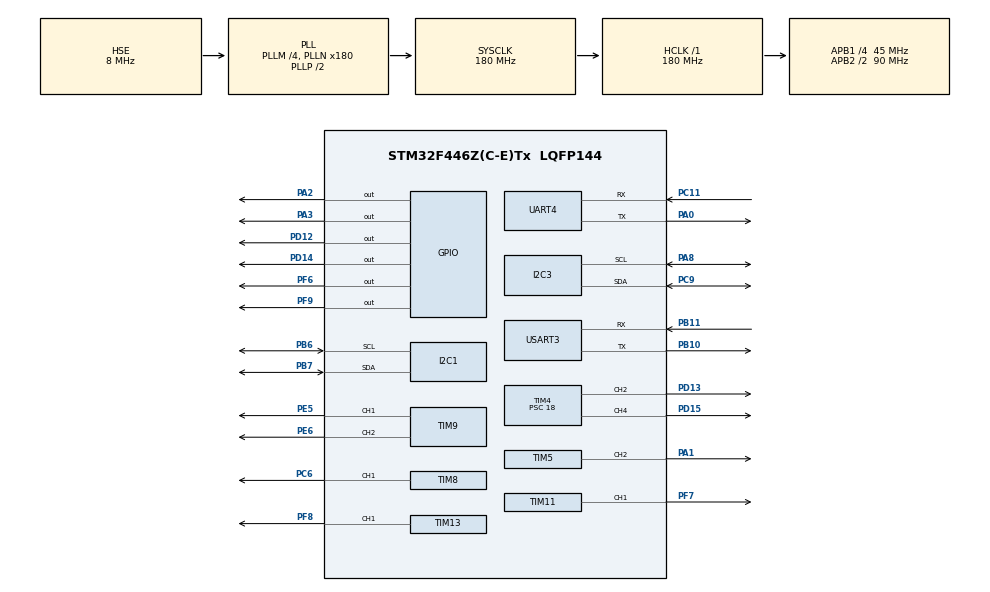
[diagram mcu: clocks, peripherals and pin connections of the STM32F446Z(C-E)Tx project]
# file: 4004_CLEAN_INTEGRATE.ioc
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Mcu.Family=STM32F4
Mcu.Name=STM32F446Z(C-E)Tx
Mcu.Package=LQFP144
NVIC.PriorityGroup=NVIC_PRIORITYGROUP_4
NVIC.TIM7_IRQn=true\:0\:0\:false\:false\:true\:true\:true\:true
PA0-WKUP.Mode=Asynchronous
PA0-WKUP.Signal=UART4_TX
PA1.Signal=S_TIM5_CH2
PA13.Mode=Serial_Wire
PA13.Signal=SYS_JTMS-SWDIO
PA14.Mode=Serial_Wire
PA14.Signal=SYS_JTCK-SWCLK
PA2.Signal=GPIO_Output
PA3.Signal=GPIO_Output
PA8.Mode=I2C
PA8.Signal=I2C3_SCL
PB10.Mode=Asynchronous
PB10.Signal=USART3_TX
PB11.Mode=Asynchronous
PB11.Signal=USART3_RX
PB6.Mode=I2C
PB6.Signal=I2C1_SCL
PB7.Mode=I2C
PB7.Signal=I2C1_SDA
PC11.Mode=Asynchronous
PC11.Signal=UART4_RX
PC14-OSC32_IN.Mode=LSE-External-Oscillator
PC14-OSC32_IN.Signal=RCC_OSC32_IN
PC15-OSC32_OUT.Mode=LSE-External-Oscillator
PC15-OSC32_OUT.Signal=RCC_OSC32_OUT
PC6.Signal=S_TIM8_CH1
PC9.Mode=I2C
PC9.Signal=I2C3_SDA
PD12.Signal=GPIO_Output
PD13.Signal=S_TIM4_CH2
PD14.Signal=GPIO_Output
PD15.Signal=S_TIM4_CH4
PD5.Signal=USART2_TX
PD6.Signal=USART2_RX
PE5.Signal=S_TIM9_CH1
PE6.Signal=S_TIM9_CH2
PF6.Signal=GPIO_Output
PF7.Signal=S_TIM11_CH1
PF8.Signal=S_TIM13_CH1
PF9.Signal=GPIO_Output
PH0-OSC_IN.Mode=HSE-External-Oscillator
PH0-OSC_IN.Signal=RCC_OSC_IN
PH1-OSC_OUT.Mode=HSE-External-Oscillator
PH1-OSC_OUT.Signal=RCC_OSC_OUT
ProjectManager.HeapSize=0x200
ProjectManager.StackSize=0x400
ProjectManager.TargetToolchain=STM32CubeIDE
RCC.48MHZClocksFreq_Value=24000000
RCC.AHBFreq_Value=180000000
RCC.APB1CLKDivider=RCC_HCLK_DIV4
RCC.APB1Freq_Value=45000000
RCC.APB1TimFreq_Value=90000000
RCC.APB2CLKDivider=RCC_HCLK_DIV2
RCC.APB2Freq_Value=90000000
RCC.APB2TimFreq_Value=180000000
RCC.CortexFreq_Value=180000000
RCC.HCLKFreq_Value=180000000
RCC.HSE_VALUE=8000000
RCC.HSI_VALUE=16000000
RCC.PLLM=4
RCC.PLLMUL=RCC_PLL_MUL9
RCC.PLLN=180
RCC.PLLQ=7
RCC.PLLSourceVirtual=RCC_PLLSOURCE_HSE
RCC.PRESCALERUSB=RCC_USBCLKSOURCE_PLL_DIV1_5
RCC.SYSCLKFreq_VALUE=180000000
RCC.SYSCLKSource=RCC_SYSCLKSOURCE_PLLCLK
RCC.SYSCLKSourceVirtual=RCC_SYSCLKSOURCE_PLLCLK
RCC.USBFreq_Value=51428571.428571425
RCC.VCOOutputFreq_Value=360000000
SH.S_TIM11_CH1.0=TIM11_CH1,PWM Generation1 CH1
SH.S_TIM13_CH1.0=TIM13_CH1,PWM Generation1 CH1
SH.S_TIM4_CH2.0=TIM4_CH2,PWM Generation2 CH2
SH.S_TIM4_CH4.0=TIM4_CH4,PWM Generation4 CH4
SH.S_TIM5_CH2.0=TIM5_CH2,PWM Generation2 CH2
SH.S_TIM8_CH1.0=TIM8_CH1,PWM Generation1 CH1
SH.S_TIM9_CH1.0=TIM9_CH1,PWM Generation1 CH1
SH.S_TIM9_CH2.0=TIM9_CH2,PWM Generation2 CH2
TIM11.Channel=TIM_CHANNEL_1
TIM11.Period=255
TIM11.Prescaler=36
TIM13.Channel=TIM_CHANNEL_1
TIM13.Period=255
TIM13.Prescaler=18
TIM4.Channel-PWM\ Generation2\ CH2=TIM_CHANNEL_2
TIM4.Channel-PWM\ Generation4\ CH4=TIM_CHANNEL_4
TIM4.Period=255
TIM4.Prescaler=18
TIM5.Channel-PWM\ Generation2\ CH2=TIM_CHANNEL_2
TIM5.Period=255
TIM5.Prescaler=18
TIM7.Period=99
TIM7.Prescaler=999
TIM8.Channel-PWM\ Generation1\ CH1=TIM_CHANNEL_1
TIM8.Channel-PWM\ Generation1\ CH1N=TIM_CHANNEL_1
TIM8.Period=255
TIM8.Prescaler=36
TIM9.Channel-PWM\ Generation1\ CH1=TIM_CHANNEL_1
TIM9.Channel-PWM\ Generation2\ CH2=TIM_CHANNEL_2
UART4.VirtualMode=Asynchronous
USART3.VirtualMode=VM_ASYNC
VP_TIM11_VS_ClockSourceINT.Mode=Enable_Timer
VP_TIM13_VS_ClockSourceINT.Mode=Enable_Timer
VP_TIM4_VS_ClockSourceINT.Mode=Internal
VP_TIM5_VS_ClockSourceINT.Mode=Internal
VP_TIM7_VS_ClockSourceINT.Mode=Enable_Timer
VP_TIM8_VS_ClockSourceINT.Mode=Internal
VP_TIM9_VS_ClockSourceINT.Mode=Internal
board=NUCLEO-F446ZE

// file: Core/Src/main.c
/* USER CODE BEGIN Header */
/**
 ******************************************************************************
 * @file           : main.c
 * @brief          : Main program body
 ******************************************************************************
 * @attention
 *
 * Copyright (c) 2026 STMicroelectronics.
 * All rights reserved.
 *
 * This software is licensed under terms that can be found in the LICENSE file
 * in the root directory of this software component.
 * If no LICENSE file comes with this software, it is provided AS-IS.
 *
 ******************************************************************************
 */
/* USER CODE END Header */
#include "main.h"

/* USER CODE BEGIN Includes */
#include "OdriveS1.h"

#include<stdio.h>
#include<stdbool.h>
#include<stdint.h>
#include<string.h>
#include<math.h>
#include<stdlib.h>
#include"Encoderlib.h"
#include"Cytron.h"
#include"BNO055_STM32.h"
#include"BTS7960.h"
#include"PCA9685.h"
#include"ads1115.h"
/* USER CODE END Includes */

I2C_HandleTypeDef hi2c1;
I2C_HandleTypeDef hi2c3;

TIM_HandleTypeDef htim4;
TIM_HandleTypeDef htim5;
TIM_HandleTypeDef htim7;
TIM_HandleTypeDef htim8;
TIM_HandleTypeDef htim9;
TIM_HandleTypeDef htim11;
TIM_HandleTypeDef htim13;

UART_HandleTypeDef huart4;
UART_HandleTypeDef huart3;

/* USER CODE BEGIN PV */
OdriveS1 M1;
Cytron m1, m2, m3;
Cytron SM1, Belt, Turret;
BTS conveyer;
PCA_t PCA;

encoder_instance L_enc, R_enc, F_enc;
uint16_t timer_counter1, timer_counter2, timer_counter3, timer_counter4;
float L_dist, R_dist, F_dist;
#define CPR 8192
#define WHEEL_RADIUS 5.4/2.0

#define LENGTH1 13.5
#define LENGTH2 13.5
#define LENGTH3 26        // x axis wheel

#define PI 3.14159265358979323846
float x_local, y_local, x_global, y_global;
double FCount = 0, LCount = 0, RCount = 0;
double prevFCount = 0, prevLCount = 0, prevRCount = 0;
double dF, dL, dR;
double xPosition = 0;
double yPosition = 0;
double thetaPosition = 0;

double deltaX, deltaY;
double deltaX_global, deltaY_global;

bool reached = false;
bool hehe;
bool wot;

double prevTheta = 0;   // IMU previous heading

#define BNO055_ADDR (0x28 << 1)
#define PWR_MODE 0x3E
#define OPR_MODE 0x3D
#define EUL_DATA_START 0x1A

uint8_t bno_data[6];
float current_heading, current_roll, current_pitch;

#define data_size 9
#define slave_addr 8

char buffer[100];

#define radius       1
#define length       1
#define MAX_PWM      100
#define LINEAR_PWM   60
#define DEADZONE     30
#define dt           0.001

int8_t data[data_size];

uint32_t count = 0;

char msg[300];
int L_joystick_x = 0, L_joystick_y = 0, R_joystick_x = 0, R_joystick_y = 0,
		omega;
bool right;
bool down;
bool up;
bool left;

bool square;
bool cross;
bool circle;
bool triangle;

bool PS, Touchpad, Options, Share, R3, L3, R1, L1;

bool is = false;
bool checked = false;

uint32_t current, previous;

int pwm1, pwm2, pwm3;
float PWM1, PWM2, PWM3;

float bot_vel, theta;

bool flag = false;
bool moving = false;
bool is_omega = false;
bool pid_tim = false;
bool horizontal = false;
bool vertical = false;
bool point = false;

float P, I, D;
float p, i, d;

float kp = 1.1;   // linear pid
float ki = 0;
float kd = 0;

float Kp = 1.1;   // correction pid
float Ki = 0;
float Kd = 0;

float KP = 7; // angular pid
float KI = 4.5;
float KD = 0.8;

float vel;

float error, error1, error2, d_error;
float ERR, ERR1, ERR2, D_error;
float correction;
float CORRECTION;
float target_heading = 0;

float target_distance, current_distance, angle;

bool pid = true;

unsigned long t_start, t_end;
float dt2;

volatile bool imu = false;
volatile bool value = false;

uint32_t i2c1, i2c2;

/* USER CODE END PV */

void SystemClock_Config(void);
static void MX_GPIO_Init(void);
static void MX_USART3_UART_Init(void);
static void MX_I2C1_Init(void);
static void MX_I2C3_Init(void);
static void MX_TIM4_Init(void);
static void MX_TIM5_Init(void);
static void MX_TIM7_Init(void);
static void MX_TIM8_Init(void);
static void MX_TIM9_Init(void);
static void MX_TIM11_Init(void);
static void MX_TIM13_Init(void);
static void MX_UART4_Init(void);

/* USER CODE BEGIN 0 */
uint8_t RxData[8];

uint32_t blink_delay;

float radians(float angle) {
	return angle * 2 * 3.14 / 360.0;
}

float degrees(float angle) {
	return angle * 360.0 / (2 * 3.14);
}

float map(float x, float in_min, float in_max, float out_min, float out_max) {
	return (x - in_min) * (out_max - out_min) / (in_max - in_min) + out_min;
}

float constrain(float num, float min, float max) {

	if (num > max) {
		return max;
	} else if (num < min) {
		return min;
	} else {
		return num;
	}
}

float normalise_angle(float angle) {
	if (angle > 180.0) {
		angle -= 360.0;
	}
	if (angle < -180.0) {
		angle += 360.0;
	}
	return angle;
}

void get_angle() {

	bno055_vector_t v = bno055_getVectorEuler();
	current_heading = v.x;

}

void process_data() {
//	 if (HAL_OK == (HAL_I2C_Master_Receive(&hi2c1, slave_addr << 1, (uint8_t*) data, data_size, HAL_MAX_DELAY))) {
	HAL_UART_Receive(&huart4, (uint8_t*) data, sizeof(data), HAL_MAX_DELAY);

	uint8_t TempData1 = data[1];
	uint8_t TempData2 = data[2];

	up = ((TempData1 & (1 << 0)) ? 1 : 0);
	right = ((TempData1 & (1 << 1)) ? 1 : 0);
	down = ((TempData1 & (1 << 2)) ? 1 : 0);
	left = ((TempData1 & (1 << 3)) ? 1 : 0);
	triangle = ((TempData1 & (1 << 4)) ? 1 : 0);
	circle = ((TempData1 & (1 << 5)) ? 1 : 0);
	cross = ((TempData1 & (1 << 6)) ? 1 : 0);
	square = ((TempData1 & (1 << 7)) ? 1 : 0);

	L1 = ((TempData2 & (1 << 0)) ? 1 : 0);
	R1 = ((TempData2 & (1 << 1)) ? 1 : 0);
	L3 = ((TempData2 & (1 << 2)) ? 1 : 0);
	R3 = ((TempData2 & (1 << 3)) ? 1 : 0);
	Share = ((TempData2 & (1 << 4)) ? 1 : 0);
	Options = ((TempData2 & (1 << 5)) ? 1 : 0);
	Touchpad = ((TempData2 & (1 << 6)) ? 1 : 0);
	PS = ((TempData2 & (1 << 7)) ? 1 : 0);

	omega = -data[7];
	R_joystick_y = data[6];
	R_joystick_x = data[5];
	L_joystick_x = data[3];
	L_joystick_y = data[4];

	if (abs(L_joystick_x) < DEADZONE)
		L_joystick_x = 0;

	if (abs(L_joystick_y) < DEADZONE)
		L_joystick_y = 0;
	if (abs(omega) < 5)
		omega = 0;

	omega = map(omega, -127, 127, -50, 50);

}

void find_wheel_vel() {

	bot_vel = sqrt(pow(L_joystick_x, 2) + pow(L_joystick_y, 2));
	theta = atan2(L_joystick_y, L_joystick_x) + radians(target_heading);

	pwm1 = constrain(
			((bot_vel * cos(theta) - (length * omega)) / radius) + CORRECTION,
			-MAX_PWM, MAX_PWM) * 1.5;
	pwm2 = constrain(
			((sqrt(3) * bot_vel * sin(theta) - bot_vel * cos(theta)
					- 2 * length * omega) / (2 * radius)) + CORRECTION,
			-MAX_PWM, MAX_PWM) * 1.5;
	pwm3 = constrain(
			(-1
					* ((bot_vel * cos(theta) + sqrt(3) * bot_vel * sin(theta)
							+ 2 * length * omega) / (2 * radius))) + CORRECTION,
			-MAX_PWM, MAX_PWM) * 1.5;

}

void rotate_motor(int pwm1, int pwm2, int pwm3) {

	RotateCytron(&m1, pwm1);
	RotateCytron(&m2, pwm2);
	RotateCytron(&m3, pwm3);

}

void PID2() {
	ERR = normalise_angle(target_heading - current_heading);
	D_error = ERR - ERR2;
	ERR2 = ERR;

	p = ERR * KP;
	i = i + (ERR * (float) dt2 * KI);
	d = (D_error / (float) dt2) * KD;

	if (fabs(ERR) > 3.5 || fabs(ERR) < 0.5) {
		i = 0;
	}

	CORRECTION = p + i + d;
}

void STAFF_Motor() {
	if (R_joystick_y > 50) {
		RotateCytron(&SM1, 70);
	} else if (R_joystick_y < -50) {
		RotateCytron(&SM1, -70);
	} else {
		StopCytron(&SM1);
	}
}

typedef struct {
	bool prevState;
	bool flag;
} ToggleButton;

ToggleButton StaffGripServo = { 0 };
ToggleButton StaffAttackServo = { 0 };

void STAFF_Init() {
	RotateServo(&PCA, 12, 180);
	RotateServo(&PCA, 10, 180);
	RotateServo(&PCA, 2, 130);
}

void STAFF_Servo() {
	// GRIP SERVO
	if (square && !StaffGripServo.prevState) {
		StaffGripServo.prevState = true;
		StaffGripServo.flag = !StaffGripServo.flag;

		if (StaffGripServo.flag) {
			//			RotateServo(&PCA, GRIP_SERVO_1, GRIP_SERVO_1_GRIP_ANGLE);
			//			RotateServo(&PCA, 8, 90);
			RotateServo(&PCA, 11, 20);

			RotateServo(&PCA, 1, 50);
			RotateServo(&PCA, 8, 0);
		} else {
			//			RotateServo(&PCA, GRIP_SERVO_1, GRIP_SERVO_1_RELEASE_ANGLE);
			//			RotateServo(&PCA, 8, 150);
			RotateServo(&PCA, 11, 180);

			RotateServo(&PCA, 1, 170);
			RotateServo(&PCA, 8, 70);
		}
	} else if (!square) {
		StaffGripServo.prevState = false;
	}

	// ATTACK SERVO
	if (triangle && !StaffAttackServo.prevState) {
		StaffAttackServo.prevState = true;
		StaffAttackServo.flag = !StaffAttackServo.flag;

		if (StaffAttackServo.flag) {
			//			RotateServo(&PCA, ATTACK_SERVO_1, ATTACK_SERVO_1_ATTACK_ANGLE);
			RotateServo(&PCA, 12, 110);
			RotateServo(&PCA, 10, 15);
			RotateServo(&PCA, 2, 67);
		} else {
			//			RotateServo(&PCA, ATTACK_SERVO_1, ATTACK_SERVO_1_NORMAL_ANGLE);
			RotateServo(&PCA, 12, 150);
			RotateServo(&PCA, 10, 58);
			RotateServo(&PCA, 2, 110);
		}
	} else if (!triangle) {
		StaffAttackServo.prevState = false;
	}
}

void STAFF_Motion() {
	STAFF_Motor();
	STAFF_Servo();
}

void TurretMotor() {
	if (right) {
		RotateCytron(&Turret, 75);
	} else if (left) {
		RotateCytron(&Turret, -75);
	} else {
		StopCytron(&Turret);
	}
}

void BeltMotor() {
	if (up) {
		RotateCytron(&Belt, 90);
	} else if (down) {
		RotateCytron(&Belt, -90);
	} else {
		StopCytron(&Belt);
	}
}

ToggleButton KFSPickServo = { 0 };

void KFS_Pick_Servo() {
	// GRIP SERVO
	if (circle && !KFSPickServo.prevState) {
		KFSPickServo.prevState = true;
		KFSPickServo.flag = !KFSPickServo.flag;

		if (KFSPickServo.flag) {
			RotateServo(&PCA, 3, 60);	//RIGHT
			RotateServo(&PCA, 4, 160);	//LEFT
		} else {
			RotateServo(&PCA, 3, 160);	//RIGHT
			RotateServo(&PCA, 4, 60);	//LEFT
		}
	} else if (!circle) {
		KFSPickServo.prevState = false;
	}
}

//void KFS_Pick_Servo() {
//	//GRIP
//	if (circle) {
//		is = true;
//	}
//	if (!circle && is) {
//		is = false;
//		count++;
//	}
//
//	if (count % 2 == 0) {
//		// RELEASE!
//		RotateServo(&PCA, 3, 60);	//RIGHT
//		RotateServo(&PCA, 4, 160);	//LEFT
//		checked = false;
//
//	} else {
//		// GRIP
//		RotateServo(&PCA, 3, 160);	//RIGHT
//		RotateServo(&PCA, 4, 60);	//LEFT
//
//		checked = true;
//	}
//
//}

void ConveyerMotor() {

	if (L1) {
		RotateMotor(&conveyer, 50);
	} else if (R1) {
		RotateMotor(&conveyer, -50);
	} else {
		RotateMotor(&conveyer, 0);
	}

}

OdriveS1 M1;
//ToggleButton ODrive = { 0 };
//ToggleButton ODrivePlace = { 0 };

//void M1_ODrive() {
//	if (Touchpad && !ODrive.prevState) {
//		ODrive.prevState = true;
//		ODrive.flag = !ODrive.flag;
//
//		if (ODrive.flag) {
//			//ODrive_goTo(OdriveS1 *dev, float position, float velocity)
//			ODrive_goTo(&M1, 48.0f, 25.0f);
//			hehe = false;
//		} else {
//			ODrive_goTo(&M1, 0.0f, 25.0f);
//			hehe = true;
//		}
//	} else if (!Touchpad) {
//		ODrive.prevState = false;
//	}
//
//	if (Share && !ODrivePlace.prevState) {
//		ODrivePlace.prevState = true;
//		ODrivePlace.flag = !ODrivePlace.flag;
//
//		if (ODrivePlace.flag) {
//			//ODrive_goTo(OdriveS1 *dev, float position, float velocity)
//			ODrive_goTo(&M1, 10.0f, 25.0f);
//			hehe = false;
//		} else {
////			ODrive_goTo(&M1, 0.0f, 25.0f);
//			hehe = true;
//		}
//	} else if (!Share) {
//		ODrivePlace.prevState = false;
//	}
//}

typedef enum {
	HOME, PLACE, REACH,
} ODrivePosition;

typedef struct {
	bool prevState;
} ODriveButton_t;

ODriveButton_t ODrive = { 0 };
ODriveButton_t ODrivePlace = { 0 };

ODrivePosition ODrivePos = HOME;

void M1_ODrive() {
	if (Touchpad && !ODrive.prevState) {
		ODrive.prevState = true;

		if (ODrivePos == REACH) {
			ODrivePos = HOME;
		} else {
			ODrivePos = REACH;
		}

	} else if (!Touchpad) {
		ODrive.prevState = false;
	}

	if (Share && !ODrivePlace.prevState) {
		ODrivePlace.prevState = true;

		if (ODrivePos == PLACE) {
			ODrivePos = HOME;
		} else {
			ODrivePos = PLACE;
		}

	} else if (!Share) {
		ODrivePlace.prevState = false;
	}

	switch (ODrivePos) {
	case HOME:
		ODrive_goTo(&M1, 0.0f, 25.0f);
		break;
	case PLACE:
		ODrive_goTo(&M1, 6.0f, 25.0f);
		break;
	case REACH:
		ODrive_goTo(&M1, 48.0f, 25.0f);
		break;
	default:
		ODrive_goTo(&M1, 0.0f, 25.0f);
		break;
	}
}

/* USER CODE END 0 */

int main(void) {

	/* MCU Configuration--------------------------------------------------------*/

	/* Reset of all peripherals, Initializes the Flash interface and the Systick. */
	HAL_Init();

	/* Configure the system clock */
	SystemClock_Config();

	/* Initialize all configured peripherals */
	MX_GPIO_Init();
	MX_USART3_UART_Init();
	MX_I2C1_Init();
	MX_I2C3_Init();
	MX_TIM4_Init();
	MX_TIM5_Init();
	MX_TIM7_Init();
	MX_TIM8_Init();
	MX_TIM9_Init();
	MX_TIM11_Init();
	MX_TIM13_Init();
	MX_UART4_Init();
	/* USER CODE BEGIN 2 */
	M1.huart = &huart3;
//  ODrive_clearErrors(&M1);

	HAL_TIM_Base_Start_IT(&htim7);

	bno055_assignI2C(&hi2c1);
	bno055_setup();
	bno055_setOperationModeNDOF();

	InitBTS(&conveyer, &htim9, TIM_CHANNEL_1, &htim9, TIM_CHANNEL_2, 2, 1000);
	InitCytron(&m1, &htim11, TIM_CHANNEL_1, GPIOF, GPIO_PIN_6, 0); // DIR PF6   PWM PF7    L3
	InitCytron(&m2, &htim4, TIM_CHANNEL_2, GPIOD, GPIO_PIN_12, 1); // DIR PD12  PWM PD13   L2
	InitCytron(&m3, &htim4, TIM_CHANNEL_4, GPIOD, GPIO_PIN_14, 0); // DIR PD14  PWM PD15   L1
	InitCytron(&SM1, &htim8, TIM_CHANNEL_1, GPIOA, GPIO_PIN_3, 1); // DIR PA3   PWM PC6
	InitCytron(&Turret, &htim5, TIM_CHANNEL_2, GPIOA, GPIO_PIN_2, 0); // DIR PA2   PWM PA1
	InitCytron(&Belt, &htim13, TIM_CHANNEL_1, GPIOF, GPIO_PIN_9, 1); // DIR PF9   PWM PF8

	rotate_motor(0, 0, 0);
	InitPCA(&PCA, &hi2c3, 50);

	current_heading = 0;
	HAL_Delay(3000);

	STAFF_Init();

	/* USER CODE END 2 */

	/* Infinite loop */
	while (1) {

		/* USER CODE BEGIN 3 */

		//ODrive_goTo(OdriveS1 *dev, float position, float velocity)
//		ODrive_goTo(&M1, 0.0f, 30.0f);
		t_start = HAL_GetTick();
		dt2 = (t_start - t_end) / 1000.0;
		t_end = t_start;

		process_data();
		//           	    if(L_joystick_x == -127 || L_joystick_y == -127 || R_joystick_x == -127 || R_joystick_y == -127 || omega == -50){
		//           	    	L_joystick_x = L_joystick_y = R_joystick_x = R_joystick_y = omega = 0;
		//           	    }
		//
		STAFF_Motion();
		TurretMotor();
		BeltMotor();
		KFS_Pick_Servo();
		ConveyerMotor();
		M1_ODrive();

//		ODrive_goTo(&M1, 30.0f, 30.0f);

		if (imu) {
			get_angle();
			imu = false;
		}

		if (omega) {
			pid = false;
			flag = true;
		}

		if (!omega && flag) {
			flag = false;
			HAL_Delay(150);
			get_angle();
			target_heading = current_heading;
			pid = true;
		}

		if (pid) {
			PID2();
		}

		// RotateMotor(&m4, 50);

		find_wheel_vel();
		rotate_motor(pwm1, pwm2, pwm3);

		//           		 sprintf(msg, "ANGLE %.2f  LX %d  LY %d  pwm1 %d  pwm2 %d  pwm3 %d omega  %d   \r\n"  , current_heading, L_joystick_x, L_joystick_y, pwm1, pwm2, pwm3, omega);
		//           		           		 HAL_UART_Transmit(&huart3, (uint8_t*)msg, strlen(msg), HAL_MAX_DELAY);

		HAL_Delay(10);
	}
	/* USER CODE END 3 */
}

void SystemClock_Config(void) {
	RCC_OscInitTypeDef RCC_OscInitStruct = { 0 };
	RCC_ClkInitTypeDef RCC_ClkInitStruct = { 0 };

	/** Configure the main internal regulator output voltage
	 */
	__HAL_RCC_PWR_CLK_ENABLE();
	__HAL_PWR_VOLTAGESCALING_CONFIG(PWR_REGULATOR_VOLTAGE_SCALE1);

	/** Initializes the RCC Oscillators according to the specified parameters
	 * in the RCC_OscInitTypeDef structure.
	 */
	RCC_OscInitStruct.OscillatorType = RCC_OSCILLATORTYPE_HSE;
	RCC_OscInitStruct.HSEState = RCC_HSE_ON;
	RCC_OscInitStruct.PLL.PLLState = RCC_PLL_ON;
	RCC_OscInitStruct.PLL.PLLSource = RCC_PLLSOURCE_HSE;
	RCC_OscInitStruct.PLL.PLLM = 4;
	RCC_OscInitStruct.PLL.PLLN = 180;
	RCC_OscInitStruct.PLL.PLLP = RCC_PLLP_DIV2;
	RCC_OscInitStruct.PLL.PLLQ = 7;
	RCC_OscInitStruct.PLL.PLLR = 2;
	if (HAL_RCC_OscConfig(&RCC_OscInitStruct) != HAL_OK) {
		Error_Handler();
	}

	/** Activate the Over-Drive mode
	 */
	if (HAL_PWREx_EnableOverDrive() != HAL_OK) {
		Error_Handler();
	}

	/** Initializes the CPU, AHB and APB buses clocks
	 */
	RCC_ClkInitStruct.ClockType = RCC_CLOCKTYPE_HCLK | RCC_CLOCKTYPE_SYSCLK
			| RCC_CLOCKTYPE_PCLK1 | RCC_CLOCKTYPE_PCLK2;
	RCC_ClkInitStruct.SYSCLKSource = RCC_SYSCLKSOURCE_PLLCLK;
	RCC_ClkInitStruct.AHBCLKDivider = RCC_SYSCLK_DIV1;
	RCC_ClkInitStruct.APB1CLKDivider = RCC_HCLK_DIV4;
	RCC_ClkInitStruct.APB2CLKDivider = RCC_HCLK_DIV2;

	if (HAL_RCC_ClockConfig(&RCC_ClkInitStruct, FLASH_LATENCY_5) != HAL_OK) {
		Error_Handler();
	}
}

static void MX_I2C1_Init(void) {

	hi2c1.Instance = I2C1;
	hi2c1.Init.ClockSpeed = 100000;
	hi2c1.Init.DutyCycle = I2C_DUTYCYCLE_2;
	hi2c1.Init.OwnAddress1 = 0;
	hi2c1.Init.AddressingMode = I2C_ADDRESSINGMODE_7BIT;
	hi2c1.Init.DualAddressMode = I2C_DUALADDRESS_DISABLE;
	hi2c1.Init.OwnAddress2 = 0;
	hi2c1.Init.GeneralCallMode = I2C_GENERALCALL_DISABLE;
	hi2c1.Init.NoStretchMode = I2C_NOSTRETCH_DISABLE;
	if (HAL_I2C_Init(&hi2c1) != HAL_OK) {
		Error_Handler();
	}

}

static void MX_I2C3_Init(void) {

	hi2c3.Instance = I2C3;
	hi2c3.Init.ClockSpeed = 100000;
	hi2c3.Init.DutyCycle = I2C_DUTYCYCLE_2;
	hi2c3.Init.OwnAddress1 = 0;
	hi2c3.Init.AddressingMode = I2C_ADDRESSINGMODE_7BIT;
	hi2c3.Init.DualAddressMode = I2C_DUALADDRESS_DISABLE;
	hi2c3.Init.OwnAddress2 = 0;
	hi2c3.Init.GeneralCallMode = I2C_GENERALCALL_DISABLE;
	hi2c3.Init.NoStretchMode = I2C_NOSTRETCH_DISABLE;
	if (HAL_I2C_Init(&hi2c3) != HAL_OK) {
		Error_Handler();
	}

}

static void MX_TIM4_Init(void) {

	TIM_ClockConfigTypeDef sClockSourceConfig = { 0 };
	TIM_MasterConfigTypeDef sMasterConfig = { 0 };
	TIM_OC_InitTypeDef sConfigOC = { 0 };

	htim4.Instance = TIM4;
	htim4.Init.Prescaler = 18;
	htim4.Init.CounterMode = TIM_COUNTERMODE_UP;
	htim4.Init.Period = 255;
	htim4.Init.ClockDivision = TIM_CLOCKDIVISION_DIV1;
	htim4.Init.AutoReloadPreload = TIM_AUTORELOAD_PRELOAD_DISABLE;
	if (HAL_TIM_Base_Init(&htim4) != HAL_OK) {
		Error_Handler();
	}
	sClockSourceConfig.ClockSource = TIM_CLOCKSOURCE_INTERNAL;
	if (HAL_TIM_ConfigClockSource(&htim4, &sClockSourceConfig) != HAL_OK) {
		Error_Handler();
	}
	if (HAL_TIM_PWM_Init(&htim4) != HAL_OK) {
		Error_Handler();
	}
	sMasterConfig.MasterOutputTrigger = TIM_TRGO_RESET;
	sMasterConfig.MasterSlaveMode = TIM_MASTERSLAVEMODE_DISABLE;
	if (HAL_TIMEx_MasterConfigSynchronization(&htim4, &sMasterConfig)
			!= HAL_OK) {
		Error_Handler();
	}
	sConfigOC.OCMode = TIM_OCMODE_PWM1;
	sConfigOC.Pulse = 0;
	sConfigOC.OCPolarity = TIM_OCPOLARITY_HIGH;
	sConfigOC.OCFastMode = TIM_OCFAST_DISABLE;
	if (HAL_TIM_PWM_ConfigChannel(&htim4, &sConfigOC, TIM_CHANNEL_2)
			!= HAL_OK) {
		Error_Handler();
	}
	if (HAL_TIM_PWM_ConfigChannel(&htim4, &sConfigOC, TIM_CHANNEL_4)
			!= HAL_OK) {
		Error_Handler();
	}
	HAL_TIM_MspPostInit(&htim4);

}

static void MX_TIM5_Init(void) {

	TIM_ClockConfigTypeDef sClockSourceConfig = { 0 };
	TIM_MasterConfigTypeDef sMasterConfig = { 0 };
	TIM_OC_InitTypeDef sConfigOC = { 0 };

	htim5.Instance = TIM5;
	htim5.Init.Prescaler = 18;
	htim5.Init.CounterMode = TIM_COUNTERMODE_UP;
	htim5.Init.Period = 255;
	htim5.Init.ClockDivision = TIM_CLOCKDIVISION_DIV1;
	htim5.Init.AutoReloadPreload = TIM_AUTORELOAD_PRELOAD_DISABLE;
	if (HAL_TIM_Base_Init(&htim5) != HAL_OK) {
		Error_Handler();
	}
	sClockSourceConfig.ClockSource = TIM_CLOCKSOURCE_INTERNAL;
	if (HAL_TIM_ConfigClockSource(&htim5, &sClockSourceConfig) != HAL_OK) {
		Error_Handler();
	}
	if (HAL_TIM_PWM_Init(&htim5) != HAL_OK) {
		Error_Handler();
	}
	sMasterConfig.MasterOutputTrigger = TIM_TRGO_RESET;
	sMasterConfig.MasterSlaveMode = TIM_MASTERSLAVEMODE_DISABLE;
	if (HAL_TIMEx_MasterConfigSynchronization(&htim5, &sMasterConfig)
			!= HAL_OK) {
		Error_Handler();
	}
	sConfigOC.OCMode = TIM_OCMODE_PWM1;
	sConfigOC.Pulse = 0;
	sConfigOC.OCPolarity = TIM_OCPOLARITY_HIGH;
	sConfigOC.OCFastMode = TIM_OCFAST_DISABLE;
	if (HAL_TIM_PWM_ConfigChannel(&htim5, &sConfigOC, TIM_CHANNEL_2)
			!= HAL_OK) {
		Error_Handler();
	}
	HAL_TIM_MspPostInit(&htim5);

}

static void MX_TIM7_Init(void) {

	TIM_MasterConfigTypeDef sMasterConfig = { 0 };

	htim7.Instance = TIM7;
	htim7.Init.Prescaler = 999;
	htim7.Init.CounterMode = TIM_COUNTERMODE_UP;
	htim7.Init.Period = 99;
	htim7.Init.AutoReloadPreload = TIM_AUTORELOAD_PRELOAD_DISABLE;
	if (HAL_TIM_Base_Init(&htim7) != HAL_OK) {
		Error_Handler();
	}
	sMasterConfig.MasterOutputTrigger = TIM_TRGO_RESET;
	sMasterConfig.MasterSlaveMode = TIM_MASTERSLAVEMODE_DISABLE;
	if (HAL_TIMEx_MasterConfigSynchronization(&htim7, &sMasterConfig)
			!= HAL_OK) {
		Error_Handler();
	}

}

static void MX_TIM8_Init(void) {

	TIM_ClockConfigTypeDef sClockSourceConfig = { 0 };
	TIM_MasterConfigTypeDef sMasterConfig = { 0 };
	TIM_OC_InitTypeDef sConfigOC = { 0 };
	TIM_BreakDeadTimeConfigTypeDef sBreakDeadTimeConfig = { 0 };

	htim8.Instance = TIM8;
	htim8.Init.Prescaler = 36;
	htim8.Init.CounterMode = TIM_COUNTERMODE_UP;
	htim8.Init.Period = 255;
	htim8.Init.ClockDivision = TIM_CLOCKDIVISION_DIV1;
	htim8.Init.RepetitionCounter = 0;
	htim8.Init.AutoReloadPreload = TIM_AUTORELOAD_PRELOAD_DISABLE;
	if (HAL_TIM_Base_Init(&htim8) != HAL_OK) {
		Error_Handler();
	}
	sClockSourceConfig.ClockSource = TIM_CLOCKSOURCE_INTERNAL;
	if (HAL_TIM_ConfigClockSource(&htim8, &sClockSourceConfig) != HAL_OK) {
		Error_Handler();
	}
	if (HAL_TIM_PWM_Init(&htim8) != HAL_OK) {
		Error_Handler();
	}
	sMasterConfig.MasterOutputTrigger = TIM_TRGO_RESET;
	sMasterConfig.MasterSlaveMode = TIM_MASTERSLAVEMODE_DISABLE;
	if (HAL_TIMEx_MasterConfigSynchronization(&htim8, &sMasterConfig)
			!= HAL_OK) {
		Error_Handler();
	}
	sConfigOC.OCMode = TIM_OCMODE_PWM1;
	sConfigOC.Pulse = 0;
	sConfigOC.OCPolarity = TIM_OCPOLARITY_HIGH;
	sConfigOC.OCNPolarity = TIM_OCNPOLARITY_HIGH;
	sConfigOC.OCFastMode = TIM_OCFAST_DISABLE;
	sConfigOC.OCIdleState = TIM_OCIDLESTATE_RESET;
	sConfigOC.OCNIdleState = TIM_OCNIDLESTATE_RESET;
	if (HAL_TIM_PWM_ConfigChannel(&htim8, &sConfigOC, TIM_CHANNEL_1)
			!= HAL_OK) {
		Error_Handler();
	}
	sBreakDeadTimeConfig.OffStateRunMode = TIM_OSSR_DISABLE;
	sBreakDeadTimeConfig.OffStateIDLEMode = TIM_OSSI_DISABLE;
	sBreakDeadTimeConfig.LockLevel = TIM_LOCKLEVEL_OFF;
	sBreakDeadTimeConfig.DeadTime = 0;
	sBreakDeadTimeConfig.BreakState = TIM_BREAK_DISABLE;
	sBreakDeadTimeConfig.BreakPolarity = TIM_BREAKPOLARITY_HIGH;
	sBreakDeadTimeConfig.AutomaticOutput = TIM_AUTOMATICOUTPUT_DISABLE;
	if (HAL_TIMEx_ConfigBreakDeadTime(&htim8, &sBreakDeadTimeConfig)
			!= HAL_OK) {
		Error_Handler();
	}
	HAL_TIM_MspPostInit(&htim8);

}

static void MX_TIM9_Init(void) {

	TIM_ClockConfigTypeDef sClockSourceConfig = { 0 };
	TIM_OC_InitTypeDef sConfigOC = { 0 };

	htim9.Instance = TIM9;
	htim9.Init.Prescaler = 0;
	htim9.Init.CounterMode = TIM_COUNTERMODE_UP;
	htim9.Init.Period = 65535;
	htim9.Init.ClockDivision = TIM_CLOCKDIVISION_DIV1;
	htim9.Init.AutoReloadPreload = TIM_AUTORELOAD_PRELOAD_DISABLE;
	if (HAL_TIM_Base_Init(&htim9) != HAL_OK) {
		Error_Handler();
	}
	sClockSourceConfig.ClockSource = TIM_CLOCKSOURCE_INTERNAL;
	if (HAL_TIM_ConfigClockSource(&htim9, &sClockSourceConfig) != HAL_OK) {
		Error_Handler();
	}
	if (HAL_TIM_PWM_Init(&htim9) != HAL_OK) {
		Error_Handler();
	}
	sConfigOC.OCMode = TIM_OCMODE_PWM1;
	sConfigOC.Pulse = 0;
	sConfigOC.OCPolarity = TIM_OCPOLARITY_HIGH;
	sConfigOC.OCFastMode = TIM_OCFAST_DISABLE;
	if (HAL_TIM_PWM_ConfigChannel(&htim9, &sConfigOC, TIM_CHANNEL_1)
			!= HAL_OK) {
		Error_Handler();
	}
	if (HAL_TIM_PWM_ConfigChannel(&htim9, &sConfigOC, TIM_CHANNEL_2)
			!= HAL_OK) {
		Error_Handler();
	}
	HAL_TIM_MspPostInit(&htim9);

}

static void MX_TIM11_Init(void) {

	TIM_OC_InitTypeDef sConfigOC = { 0 };

	htim11.Instance = TIM11;
	htim11.Init.Prescaler = 36;
	htim11.Init.CounterMode = TIM_COUNTERMODE_UP;
	htim11.Init.Period = 255;
	htim11.Init.ClockDivision = TIM_CLOCKDIVISION_DIV1;
	htim11.Init.AutoReloadPreload = TIM_AUTORELOAD_PRELOAD_DISABLE;
	if (HAL_TIM_Base_Init(&htim11) != HAL_OK) {
		Error_Handler();
	}
	if (HAL_TIM_PWM_Init(&htim11) != HAL_OK) {
		Error_Handler();
	}
	sConfigOC.OCMode = TIM_OCMODE_PWM1;
	sConfigOC.Pulse = 0;
	sConfigOC.OCPolarity = TIM_OCPOLARITY_HIGH;
	sConfigOC.OCFastMode = TIM_OCFAST_DISABLE;
	if (HAL_TIM_PWM_ConfigChannel(&htim11, &sConfigOC, TIM_CHANNEL_1)
			!= HAL_OK) {
		Error_Handler();
	}
	HAL_TIM_MspPostInit(&htim11);

}

static void MX_TIM13_Init(void) {

	TIM_OC_InitTypeDef sConfigOC = { 0 };

	htim13.Instance = TIM13;
	htim13.Init.Prescaler = 18;
	htim13.Init.CounterMode = TIM_COUNTERMODE_UP;
	htim13.Init.Period = 255;
	htim13.Init.ClockDivision = TIM_CLOCKDIVISION_DIV1;
	htim13.Init.AutoReloadPreload = TIM_AUTORELOAD_PRELOAD_DISABLE;
	if (HAL_TIM_Base_Init(&htim13) != HAL_OK) {
		Error_Handler();
	}
	if (HAL_TIM_PWM_Init(&htim13) != HAL_OK) {
		Error_Handler();
	}
	sConfigOC.OCMode = TIM_OCMODE_PWM1;
	sConfigOC.Pulse = 0;
	sConfigOC.OCPolarity = TIM_OCPOLARITY_HIGH;
	sConfigOC.OCFastMode = TIM_OCFAST_DISABLE;
	if (HAL_TIM_PWM_ConfigChannel(&htim13, &sConfigOC, TIM_CHANNEL_1)
			!= HAL_OK) {
		Error_Handler();
	}
	HAL_TIM_MspPostInit(&htim13);

}

static void MX_UART4_Init(void) {

	huart4.Instance = UART4;
	huart4.Init.BaudRate = 115200;
	huart4.Init.WordLength = UART_WORDLENGTH_8B;
	huart4.Init.StopBits = UART_STOPBITS_1;
	huart4.Init.Parity = UART_PARITY_NONE;
	huart4.Init.Mode = UART_MODE_TX_RX;
	huart4.Init.HwFlowCtl = UART_HWCONTROL_NONE;
	huart4.Init.OverSampling = UART_OVERSAMPLING_16;
	if (HAL_UART_Init(&huart4) != HAL_OK) {
		Error_Handler();
	}

}

static void MX_USART3_UART_Init(void) {

	huart3.Instance = USART3;
	huart3.Init.BaudRate = 115200;
	huart3.Init.WordLength = UART_WORDLENGTH_8B;
	huart3.Init.StopBits = UART_STOPBITS_1;
	huart3.Init.Parity = UART_PARITY_NONE;
	huart3.Init.Mode = UART_MODE_TX_RX;
	huart3.Init.HwFlowCtl = UART_HWCONTROL_NONE;
	huart3.Init.OverSampling = UART_OVERSAMPLING_16;
	if (HAL_UART_Init(&huart3) != HAL_OK) {
		Error_Handler();
	}

}

static void MX_GPIO_Init(void) {
	GPIO_InitTypeDef GPIO_InitStruct = { 0 };

	/* GPIO Ports Clock Enable */
	__HAL_RCC_GPIOE_CLK_ENABLE();
	__HAL_RCC_GPIOC_CLK_ENABLE();
	__HAL_RCC_GPIOF_CLK_ENABLE();
	__HAL_RCC_GPIOH_CLK_ENABLE();
	__HAL_RCC_GPIOA_CLK_ENABLE();
	__HAL_RCC_GPIOB_CLK_ENABLE();
	__HAL_RCC_GPIOD_CLK_ENABLE();

	/*Configure GPIO pin Output Level */
	HAL_GPIO_WritePin(GPIOF, GPIO_PIN_6 | GPIO_PIN_9, GPIO_PIN_RESET);

	/*Configure GPIO pin Output Level */
	HAL_GPIO_WritePin(GPIOA, GPIO_PIN_2 | GPIO_PIN_3, GPIO_PIN_RESET);

	/*Configure GPIO pin Output Level */
	HAL_GPIO_WritePin(GPIOD, GPIO_PIN_12 | GPIO_PIN_14, GPIO_PIN_RESET);

	/*Configure GPIO pins : PF6 PF9 */
	GPIO_InitStruct.Pin = GPIO_PIN_6 | GPIO_PIN_9;
	GPIO_InitStruct.Mode = GPIO_MODE_OUTPUT_PP;
	GPIO_InitStruct.Pull = GPIO_NOPULL;
	GPIO_InitStruct.Speed = GPIO_SPEED_FREQ_LOW;
	HAL_GPIO_Init(GPIOF, &GPIO_InitStruct);

	/*Configure GPIO pins : PA2 PA3 */
	GPIO_InitStruct.Pin = GPIO_PIN_2 | GPIO_PIN_3;
	GPIO_InitStruct.Mode = GPIO_MODE_OUTPUT_PP;
	GPIO_InitStruct.Pull = GPIO_NOPULL;
	GPIO_InitStruct.Speed = GPIO_SPEED_FREQ_LOW;
	HAL_GPIO_Init(GPIOA, &GPIO_InitStruct);

	/*Configure GPIO pins : PD12 PD14 */
	GPIO_InitStruct.Pin = GPIO_PIN_12 | GPIO_PIN_14;
	GPIO_InitStruct.Mode = GPIO_MODE_OUTPUT_PP;
	GPIO_InitStruct.Pull = GPIO_NOPULL;
	GPIO_InitStruct.Speed = GPIO_SPEED_FREQ_LOW;
	HAL_GPIO_Init(GPIOD, &GPIO_InitStruct);

	/*Configure GPIO pins : PD5 PD6 */
	GPIO_InitStruct.Pin = GPIO_PIN_5 | GPIO_PIN_6;
	GPIO_InitStruct.Mode = GPIO_MODE_AF_PP;
	GPIO_InitStruct.Pull = GPIO_NOPULL;
	GPIO_InitStruct.Speed = GPIO_SPEED_FREQ_VERY_HIGH;
	GPIO_InitStruct.Alternate = GPIO_AF7_USART2;
	HAL_GPIO_Init(GPIOD, &GPIO_InitStruct);

}

/* USER CODE BEGIN 4 */
void HAL_TIM_PeriodElapsedCallback(TIM_HandleTypeDef *htim) {
	/* USER CODE BEGIN Callback 0 */

	/* USER CODE END Callback 0 */
	if (htim->Instance == TIM7) {
		imu = true;
	}
	/* USER CODE BEGIN Callback 1 */

	/* USER CODE END Callback 1 */
}

/* USER CODE END 4 */

void Error_Handler(void) {
	__disable_irq();
	while (1) {
	}
}
